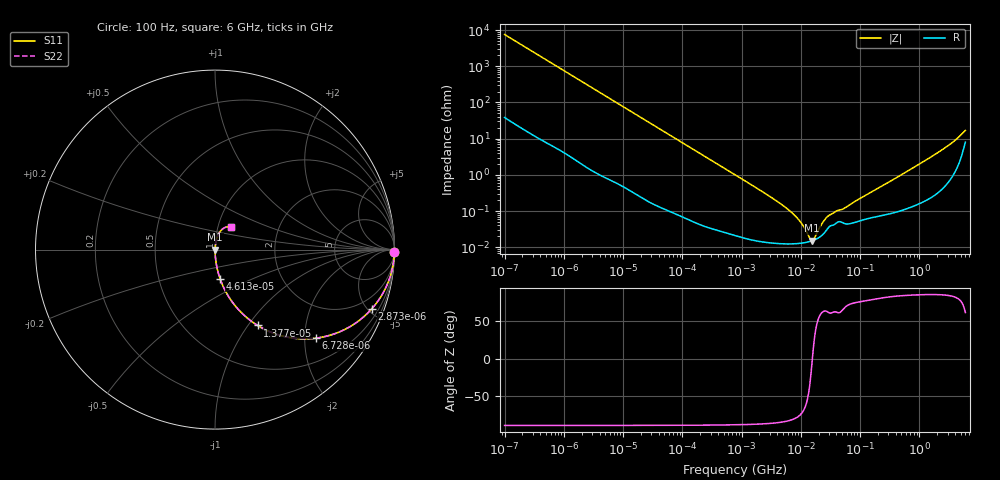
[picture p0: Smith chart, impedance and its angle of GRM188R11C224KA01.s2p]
!Murata Part Number: GRM188R11C224KA01
!These Parameters are Measured in Series Mode Connection
!Data Generated on Mar 30, 2021
!  o--ll--o
!Port1  Port2
!  o------o
!Operation Temp=25[degC], DC Bias Voltage=0[V]
!Freq. Start=100[Hz] Stop=6[GHz] 401[Steps]
# Hz S RI R 50
!Freq.(Hz) S11(Real) S11(Imag) S21(Real) S21(Imag) S12(Real) S12(Imag) S22(Real) S22(Imag)
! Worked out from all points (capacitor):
!   401 points, 100 Hz to 6 GHz, reference 50 ohm
!   read as one part in series: C = 211 nF near 109 Hz
!   lowest |Z| = 15.2 mohm at 15.56 MHz (marker M1)
!   series resonance near 15.68 MHz, so ESL is about 490 pH
!   S11 on the Smith chart (normalised r, x): 100 Hz: open; 2.873 kHz: 1.03, -5.30; 6.728 kHz: 1.01, -2.27; 13.77 kHz: 1.01, -1.11; 46.13 kHz: 1.00, -0.33; 6 GHz: 1.16, +0.30
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100  0.9998 -0.0133  0.000244 0.0133  0.000244 0.0133  0.9998 -0.0133
600  0.9934 -0.0786  0.00663 0.0786  0.00663 0.0786  0.9934 -0.0786
2008  0.9337 -0.2462  0.0663 0.2462  0.0663 0.2462  0.9337 -0.2462
2873  0.8741 -0.3292  0.1259 0.3292  0.1259 0.3292  0.8741 -0.3292
6728  0.5625 -0.4932  0.4375 0.4932  0.4375 0.4932  0.5625 -0.4932
13772  0.2375 -0.4225  0.7625 0.4225  0.7625 0.4225  0.2375 -0.4225
22537  0.1053 -0.3039  0.8947 0.3039  0.8947 0.3039  0.1053 -0.3039
40335  0.0362 -0.1834  0.9638 0.1834  0.9638 0.1834  0.0362 -0.1834
46134  0.0281 -0.1618  0.9719 0.1618  0.9719 0.1618  0.0281 -0.1618
141303  0.00351 -0.0545  0.9965 0.0545  0.9965 0.0545  0.00351 -0.0545
774597  0.000312 -0.01  0.9997 0.01  0.9997 0.01  0.000312 -0.01
3103719  0.000138 -0.00244  0.9999 0.00244  0.9999 0.00244  0.000138 -0.00244
6353432  0.000125 -0.00104  0.9999 0.00104  0.9999 0.00104  0.000125 -0.00104
9506416  0.000128 -0.000528  0.9999 0.000528  0.9999 0.000528  0.000128 -0.000528
1.422411e7  0.000145 -9.89e-05  0.9999 9.89e-05  0.9999 9.89e-05  0.000145 -9.89e-05
1.555665e7  0.000152 -7.6e-06  0.9998 7.6e-06  0.9998 7.6e-06  0.000152 -7.6e-06
1.701401e7  0.00016 8.41e-05  0.9998 -8.41e-05  0.9998 -8.41e-05  0.00016 8.41e-05
2.327686e7  0.000221 0.00042  0.9998 -0.00042  0.9998 -0.00042  0.000221 0.00042
2.911731e7  0.000347 0.000649  0.9997 -0.000649  0.9997 -0.000649  0.000347 0.000649
3.124326e8  0.000873 0.00635  0.9991 -0.00635  0.9991 -0.00635  0.000873 0.00635
2.240541e9  0.00554 0.0445  0.9945 -0.0445  0.9945 -0.0445  0.00554 0.0445
6e9  0.0911 0.1246  0.9089 -0.1246  0.9089 -0.1246  0.0911 0.1246
